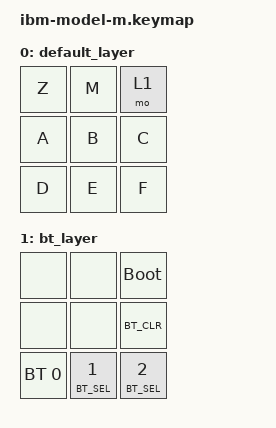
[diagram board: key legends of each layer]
#include <behaviors/dtsi>
#include <dt-bindings/zmk/keys.h>
#include <dt-bindings/zmk/bt.h>

/ {
    keymap {
        compatible = "zmk,keymap";

        default_layer { // Layer 0
            // -------------------------------------
            // |     Z     |     M     |     K     |
            // |     A     |     B     |     C     |
            // |     D     |     E     |     F     |
            bindings = <
                &kp Z    &kp M    &mo 1
                &kp A    &kp B    &kp C
                &kp D    &kp E    &kp F
            >;
        };

        bt_layer {
            bindings = <
                &none         &none     &bootloader
                &none         &none     &BT_CLR
                &bt BT_SEL 0  &BT_SEL 1 &BT_SEL 2
            >;
        }
    };
 };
